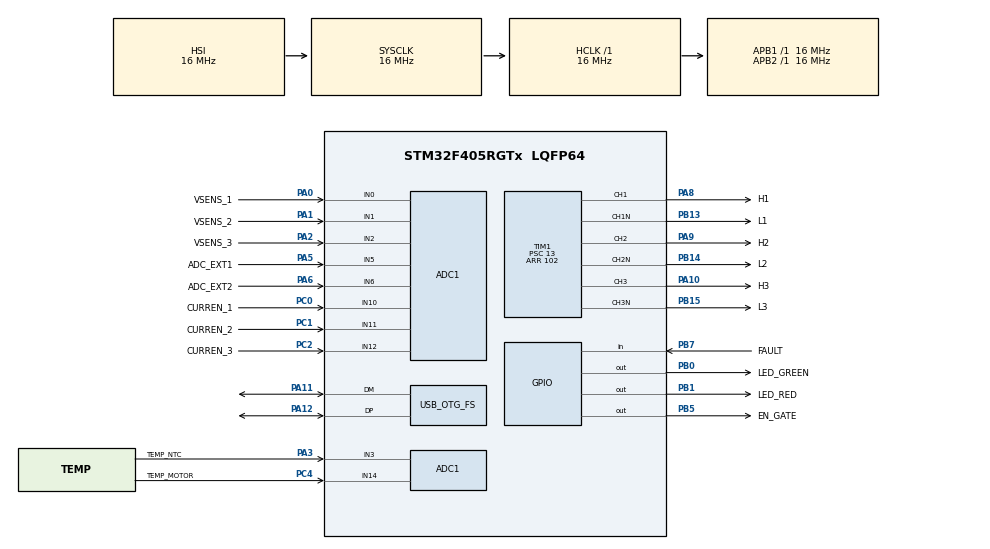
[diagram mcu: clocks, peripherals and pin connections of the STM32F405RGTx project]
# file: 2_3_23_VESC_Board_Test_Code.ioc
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ADC1.Channel-0\#ChannelRegularConversion=ADC_CHANNEL_0
ADC1.Channel-1\#ChannelRegularConversion=ADC_CHANNEL_1
ADC1.Channel-2\#ChannelRegularConversion=ADC_CHANNEL_2
ADC1.Channel-3\#ChannelRegularConversion=ADC_CHANNEL_3
ADC1.Channel-4\#ChannelRegularConversion=ADC_CHANNEL_5
ADC1.Channel-5\#ChannelRegularConversion=ADC_CHANNEL_6
ADC1.Channel-6\#ChannelRegularConversion=ADC_CHANNEL_10
ADC1.Channel-7\#ChannelRegularConversion=ADC_CHANNEL_11
ADC1.Channel-8\#ChannelRegularConversion=ADC_CHANNEL_12
ADC1.Channel-9\#ChannelRegularConversion=ADC_CHANNEL_14
ADC1.ContinuousConvMode=ENABLE
ADC1.NbrOfConversion=10
ADC1.NbrOfConversionFlag=1
ADC1.Rank-0\#ChannelRegularConversion=1
ADC1.Rank-1\#ChannelRegularConversion=2
ADC1.Rank-2\#ChannelRegularConversion=3
ADC1.Rank-3\#ChannelRegularConversion=4
ADC1.Rank-4\#ChannelRegularConversion=5
ADC1.Rank-5\#ChannelRegularConversion=6
ADC1.Rank-6\#ChannelRegularConversion=7
ADC1.Rank-7\#ChannelRegularConversion=8
ADC1.Rank-8\#ChannelRegularConversion=9
ADC1.Rank-9\#ChannelRegularConversion=10
ADC1.SamplingTime-0\#ChannelRegularConversion=ADC_SAMPLETIME_3CYCLES
ADC1.SamplingTime-1\#ChannelRegularConversion=ADC_SAMPLETIME_3CYCLES
ADC1.SamplingTime-2\#ChannelRegularConversion=ADC_SAMPLETIME_3CYCLES
ADC1.SamplingTime-3\#ChannelRegularConversion=ADC_SAMPLETIME_3CYCLES
ADC1.SamplingTime-4\#ChannelRegularConversion=ADC_SAMPLETIME_3CYCLES
ADC1.SamplingTime-5\#ChannelRegularConversion=ADC_SAMPLETIME_3CYCLES
ADC1.SamplingTime-6\#ChannelRegularConversion=ADC_SAMPLETIME_3CYCLES
ADC1.SamplingTime-7\#ChannelRegularConversion=ADC_SAMPLETIME_3CYCLES
ADC1.SamplingTime-8\#ChannelRegularConversion=ADC_SAMPLETIME_3CYCLES
ADC1.SamplingTime-9\#ChannelRegularConversion=ADC_SAMPLETIME_3CYCLES
ADC1.ScanConvMode=ENABLE
ADC1.master=1
Mcu.Family=STM32F4
Mcu.Name=STM32F405RGTx
Mcu.Package=LQFP64
NVIC.OTG_FS_IRQn=true\:0\:0\:false\:false\:true\:false\:true\:true
NVIC.PriorityGroup=NVIC_PRIORITYGROUP_4
NVIC.TIM2_IRQn=true\:0\:0\:false\:false\:true\:true\:true\:true
PA0-WKUP.GPIO_Label=VSENS_1
PA0-WKUP.Signal=ADCx_IN0
PA1.GPIO_Label=VSENS_2
PA1.Signal=ADCx_IN1
PA10.GPIO_Label=H3
PA10.Signal=S_TIM1_CH3
PA11.Mode=Device_Only
PA11.Signal=USB_OTG_FS_DM
PA12.Mode=Device_Only
PA12.Signal=USB_OTG_FS_DP
PA13.Mode=Serial_Wire
PA13.Signal=SYS_JTMS-SWDIO
PA14.Mode=Serial_Wire
PA14.Signal=SYS_JTCK-SWCLK
PA2.GPIO_Label=VSENS_3
PA2.Signal=ADCx_IN2
PA3.GPIO_Label=TEMP_NTC
PA3.Signal=ADCx_IN3
PA5.GPIO_Label=ADC_EXT1
PA5.Signal=ADCx_IN5
PA6.GPIO_Label=ADC_EXT2
PA6.Signal=ADCx_IN6
PA8.GPIO_Label=H1
PA8.Signal=S_TIM1_CH1
PA9.GPIO_Label=H2
PA9.Signal=S_TIM1_CH2
PB0.GPIO_Label=LED_GREEN
PB0.Signal=GPIO_Output
PB1.GPIO_Label=LED_RED
PB1.Signal=GPIO_Output
PB13.GPIO_Label=L1
PB13.Mode=PWM Generation1 CH1 CH1N
PB13.Signal=TIM1_CH1N
PB14.GPIO_Label=L2
PB14.Mode=PWM Generation2 CH2 CH2N
PB14.Signal=TIM1_CH2N
PB15.GPIO_Label=L3
PB15.Mode=PWM Generation3 CH3 CH3N
PB15.Signal=TIM1_CH3N
PB5.GPIO_Label=EN_GATE
PB5.PinState=GPIO_PIN_RESET
PB5.Signal=GPIO_Output
PB7.GPIO_Label=FAULT
PB7.Signal=GPIO_Input
PC0.GPIO_Label=CURREN_1
PC0.Signal=ADCx_IN10
PC1.GPIO_Label=CURREN_2
PC1.Signal=ADCx_IN11
PC14-OSC32_IN.Mode=LSE-External-Oscillator
PC14-OSC32_IN.Signal=RCC_OSC32_IN
PC15-OSC32_OUT.Mode=LSE-External-Oscillator
PC15-OSC32_OUT.Signal=RCC_OSC32_OUT
PC2.GPIO_Label=CURREN_3
PC2.Signal=ADCx_IN12
PC4.GPIO_Label=TEMP_MOTOR
PC4.Signal=ADCx_IN14
PH0-OSC_IN.Mode=HSE-External-Oscillator
PH0-OSC_IN.Signal=RCC_OSC_IN
PH1-OSC_OUT.Mode=HSE-External-Oscillator
PH1-OSC_OUT.Signal=RCC_OSC_OUT
ProjectManager.HeapSize=0x200
ProjectManager.StackSize=0x400
ProjectManager.TargetToolchain=STM32CubeIDE
RCC.48MHZClocksFreq_Value=48000000
RCC.AHBFreq_Value=16000000
RCC.APB1Freq_Value=16000000
RCC.APB2Freq_Value=16000000
RCC.CortexFreq_Value=16000000
RCC.HSE_VALUE=25000000
RCC.HSI_VALUE=16000000
RCC.PLLSource=RCC_PLLSOURCE_HSI
RCC.PLLSourceVirtualString=RCC_PLLSOURCE_HSI
RCC.SYSCLKFreq_VALUE=16000000
RCC.VCOOutputFreq_Value=192000000
SH.ADCx_IN0.0=ADC1_IN0,IN0
SH.ADCx_IN1.0=ADC1_IN1,IN1
SH.ADCx_IN10.0=ADC1_IN10,IN10
SH.ADCx_IN11.0=ADC1_IN11,IN11
SH.ADCx_IN12.0=ADC1_IN12,IN12
SH.ADCx_IN14.0=ADC1_IN14,IN14
SH.ADCx_IN2.0=ADC1_IN2,IN2
SH.ADCx_IN3.0=ADC1_IN3,IN3
SH.ADCx_IN5.0=ADC1_IN5,IN5
SH.ADCx_IN6.0=ADC1_IN6,IN6
SH.S_TIM1_CH1.0=TIM1_CH1,PWM Generation1 CH1 CH1N
SH.S_TIM1_CH2.0=TIM1_CH2,PWM Generation2 CH2 CH2N
SH.S_TIM1_CH3.0=TIM1_CH3,PWM Generation3 CH3 CH3N
TIM1.AutoReloadPreload=TIM_AUTORELOAD_PRELOAD_ENABLE
TIM1.Channel-PWM\ Generation1\ CH1\ CH1N=TIM_CHANNEL_1
TIM1.Channel-PWM\ Generation2\ CH2\ CH2N=TIM_CHANNEL_2
TIM1.Channel-PWM\ Generation3\ CH3\ CH3N=TIM_CHANNEL_3
TIM1.DeadTime=20
TIM1.OCNIdleState_1=TIM_OCNIDLESTATE_SET
TIM1.OCNIdleState_2=TIM_OCNIDLESTATE_SET
TIM1.OCNIdleState_3=TIM_OCNIDLESTATE_SET
TIM1.Period=102
TIM1.Prescaler=13
TIM2.AutoReloadPreload=TIM_AUTORELOAD_PRELOAD_ENABLE
TIM2.Period=2000
TIM2.Prescaler=14
USB_DEVICE.CLASS_NAME_FS=CDC
USB_DEVICE.VirtualMode-CDC_FS=Cdc
USB_DEVICE.VirtualModeFS=Cdc_FS
USB_OTG_FS.VirtualMode=Device_Only
VP_TIM1_VS_ClockSourceINT.Mode=Internal
VP_TIM2_VS_ClockSourceINT.Mode=Internal
VP_USB_DEVICE_VS_USB_DEVICE_CDC_FS.Mode=CDC_FS
board=custom

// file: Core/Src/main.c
/* USER CODE BEGIN Header */
/**
  ******************************************************************************
  * @file           : main.c
  * @brief          : Main program body
  ******************************************************************************
  * @attention
  *
  * Copyright (c) 2023 STMicroelectronics.
  * All rights reserved.
  *
  * This software is licensed under terms that can be found in the LICENSE file
  * in the root directory of this software component.
  * If no LICENSE file comes with this software, it is provided AS-IS.
  *
  ******************************************************************************
  */
/* USER CODE END Header */
#include "main.h"
#include "usb_device.h"

/* USER CODE BEGIN Includes */
#include "usbd_cdc_if.h"
#include "stdio.h"
#include "string.h"
/* USER CODE END Includes */

/* USER CODE BEGIN PTD */
uint16_t PhaseA=0;
uint16_t k=0,l=0,CH2_DC=16;
uint32_t PhaseA_wave[128 ] = {
		50,54,58,62,65,69,72,76,79,82,85,88,90,92,94,96,97,98,99,100,100,100,100,99,
		98,97,95,93,91,89,86,84,81,77,74,71,67,63,60,56,52,48,44,40,37,33,29,26,
		23,19,16,14,11,9,7,5,3,2,3,4,6,8,10,12,15,
		18,21,24,28,31,35,38,42,46,50
};
uint32_t PhaseB_wave[128 ] = {
		93,91,89,86,84,81,77,74,71,67,63,60,56,52,48,44,40,37,33,29,26,
		23,19,16,14,11,9,7,5,3,2,3,4,6,8,10,12,15,
		18,21,24,28,31,35,38,42,46,50,50,54,58,62,65,69,72,76,79,82,85,88,90,92,
		94,96,97,98,99,100,100,100,100,99,98,97,95,
};
uint32_t PhaseC_wave[128 ] = {
		7,5,3,2,3,4,6,8,10,12,15,18,21,24,28,31,35,38,42,46,50,
		50,54,58,62,65,69,72,76,79,82,85,88,90,92,94,96,97,98,99,100,100,100,100,99,
		98,97,95,93,91,89,86,84,81,77,74,71,67,63,60,56,52,48,44,40,37,33,29,26,
		23,19,16,14,11,9
};
/* USER CODE END PTD */

ADC_HandleTypeDef hadc1;

TIM_HandleTypeDef htim1;
TIM_HandleTypeDef htim2;

/* USER CODE BEGIN PV */
ADC_ChannelConfTypeDef sConfig = {0};
uint8_t buffer[64];
uint16_t ADC_VAL[10],strVal[16];

/* USER CODE END PV */

void SystemClock_Config(void);
static void MX_GPIO_Init(void);
static void MX_ADC1_Init(void);
static void MX_TIM1_Init(void);
static void MX_TIM2_Init(void);

/* USER CODE BEGIN 0 */
void ledBlink()
{
	for (int ledCount=0;ledCount<6;ledCount++)
	{
		HAL_GPIO_TogglePin(GPIOB, LED_GREEN_Pin|LED_RED_Pin);
		HAL_Delay(1000);
	}
	HAL_GPIO_WritePin(GPIOB, LED_GREEN_Pin|LED_RED_Pin, GPIO_PIN_RESET);
}

void USBTest()
{
	char *data = "Hello ST MicroController\r\n";
	CDC_Transmit_FS((uint8_t *)data, strlen(data));
	HAL_Delay(1000);
}
void DRV8301_Enable()
{
	HAL_GPIO_WritePin(GPIOB, EN_GATE_Pin, GPIO_PIN_SET);
}
void DRV8301_Disable()
{
	HAL_GPIO_WritePin(GPIOB, EN_GATE_Pin, GPIO_PIN_RESET);
}
void DRV8301_NormalPWM()
{
	TIM1->CCR1 = 51;
	HAL_TIM_PWM_Start(&htim1, TIM_CHANNEL_1);
	HAL_TIMEx_PWMN_Start(&htim1, TIM_CHANNEL_1);
	HAL_Delay(1);
	TIM1->CCR2 = 51;
	HAL_TIM_PWM_Start(&htim1, TIM_CHANNEL_2);
	HAL_TIMEx_PWMN_Start(&htim1, TIM_CHANNEL_2);
	HAL_Delay(1);
	TIM1->CCR3 = 51;
	HAL_TIM_PWM_Start(&htim1, TIM_CHANNEL_3);
	HAL_TIMEx_PWMN_Start(&htim1, TIM_CHANNEL_3);
	HAL_Delay(1);
}
void DRV8301_PWM_Stop()
{
	HAL_TIM_PWM_Stop(&htim1, TIM_CHANNEL_1);
	HAL_TIMEx_PWMN_Stop(&htim1, TIM_CHANNEL_1);
	HAL_TIM_PWM_Stop(&htim1, TIM_CHANNEL_2);
	HAL_TIMEx_PWMN_Stop(&htim1, TIM_CHANNEL_2);
	HAL_TIM_PWM_Stop(&htim1, TIM_CHANNEL_3);
	HAL_TIMEx_PWMN_Stop(&htim1, TIM_CHANNEL_3);
	HAL_Delay(1);
}
void delay_us (uint16_t us)
{
	__HAL_TIM_SET_COUNTER(&htim2,0);  // set the counter value a 0
	while (__HAL_TIM_GET_COUNTER(&htim2) < us);  // wait for the counter to reach the us input in the parameter
}
void DRV8301_CommutationPWM()
{
	for(k=0;k<73;k++)
	{
		PhaseA = PhaseA +1;
		TIM1->CCR1 = PhaseA_wave[PhaseA];
		HAL_TIM_PWM_Start(&htim1, TIM_CHANNEL_1);
		HAL_TIMEx_PWMN_Start(&htim1, TIM_CHANNEL_1);
		TIM1->CCR2 = PhaseB_wave[PhaseA];
		HAL_TIM_PWM_Start(&htim1, TIM_CHANNEL_2);
		HAL_TIMEx_PWMN_Start(&htim1, TIM_CHANNEL_2);
		TIM1->CCR3 = PhaseC_wave[PhaseA];
		HAL_TIM_PWM_Start(&htim1, TIM_CHANNEL_3);
		HAL_TIMEx_PWMN_Start(&htim1, TIM_CHANNEL_3);
		delay_us(330);
	}
	if(k>=73)
	{
		PhaseA=0;
		k=0;
	}
}
void VSENS_1()
{
	sConfig.Channel = ADC_CHANNEL_0;
	sConfig.Rank = 1;
	sConfig.SamplingTime = ADC_SAMPLETIME_3CYCLES;
	if (HAL_ADC_ConfigChannel(&hadc1, &sConfig) != HAL_OK)
	{
	Error_Handler();
	}
}

void VSENS_2()
{
	sConfig.Channel = ADC_CHANNEL_1;
	sConfig.Rank = 1;
	sConfig.SamplingTime = ADC_SAMPLETIME_3CYCLES;
	if (HAL_ADC_ConfigChannel(&hadc1, &sConfig) != HAL_OK)
	{
	Error_Handler();
	}
}
void VSENS_3()
{
	sConfig.Channel = ADC_CHANNEL_2;
	sConfig.Rank = 1;
	sConfig.SamplingTime = ADC_SAMPLETIME_3CYCLES;
	if (HAL_ADC_ConfigChannel(&hadc1, &sConfig) != HAL_OK)
	{
	Error_Handler();
	}
}
void TEMP_NTC()
{
	sConfig.Channel = ADC_CHANNEL_3;
	sConfig.Rank = 1;
	sConfig.SamplingTime = ADC_SAMPLETIME_3CYCLES;
	if (HAL_ADC_ConfigChannel(&hadc1, &sConfig) != HAL_OK)
	{
	Error_Handler();
	}
}
void ADC_EXT1()
{
	sConfig.Channel = ADC_CHANNEL_5;
	sConfig.Rank = 1;
	sConfig.SamplingTime = ADC_SAMPLETIME_3CYCLES;
	if (HAL_ADC_ConfigChannel(&hadc1, &sConfig) != HAL_OK)
	{
	Error_Handler();
	}
}
void ADC_EXT2()
{
	sConfig.Channel = ADC_CHANNEL_6;
	sConfig.Rank = 1;
	sConfig.SamplingTime = ADC_SAMPLETIME_3CYCLES;
	if (HAL_ADC_ConfigChannel(&hadc1, &sConfig) != HAL_OK)
	{
	Error_Handler();
	}
}
void CURREN_1()
{
	sConfig.Channel = ADC_CHANNEL_10;
	sConfig.Rank = 1;
	sConfig.SamplingTime = ADC_SAMPLETIME_3CYCLES;
	if (HAL_ADC_ConfigChannel(&hadc1, &sConfig) != HAL_OK)
	{
	Error_Handler();
	}
}
void CURREN_2()
{
	sConfig.Channel = ADC_CHANNEL_11;
	sConfig.Rank = 1;
	sConfig.SamplingTime = ADC_SAMPLETIME_3CYCLES;
	if (HAL_ADC_ConfigChannel(&hadc1, &sConfig) != HAL_OK)
	{
	Error_Handler();
	}
}
void CURREN_3()
{
	sConfig.Channel = ADC_CHANNEL_12;
	sConfig.Rank = 1;
	sConfig.SamplingTime = ADC_SAMPLETIME_3CYCLES;
	if (HAL_ADC_ConfigChannel(&hadc1, &sConfig) != HAL_OK)
	{
	Error_Handler();
	}
}
void TEMP_MOTOR()
{
	sConfig.Channel = ADC_CHANNEL_14;
	sConfig.Rank = 1;
	sConfig.SamplingTime = ADC_SAMPLETIME_3CYCLES;
	if (HAL_ADC_ConfigChannel(&hadc1, &sConfig) != HAL_OK)
	{
	Error_Handler();
	}
}
void CAAF()
{

	VSENS_1();
	HAL_ADC_Start(&hadc1);
	HAL_ADC_PollForConversion(&hadc1,1000);
	ADC_VAL[0] = HAL_ADC_GetValue(&hadc1);
	HAL_ADC_Stop(&hadc1);
	sprintf(strVal,"%hu\r\n",ADC_VAL[0]);
	CDC_Transmit_FS("VSENS_1 = ", 10);
	HAL_Delay(100);
	CDC_Transmit_FS(strVal, 8);
	HAL_Delay(100);

	VSENS_2();
	HAL_ADC_Start(&hadc1);
	HAL_ADC_PollForConversion(&hadc1,1000);
	ADC_VAL[1] = HAL_ADC_GetValue(&hadc1);
	HAL_ADC_Stop(&hadc1);
	sprintf(strVal,"%hu\r\n",ADC_VAL[1]);
	CDC_Transmit_FS("VSENS_2 = ", 10);
	HAL_Delay(100);
	CDC_Transmit_FS(strVal, 8);
	HAL_Delay(100);

	VSENS_3();
	HAL_ADC_Start(&hadc1);
	HAL_ADC_PollForConversion(&hadc1,1000);
	ADC_VAL[2] = HAL_ADC_GetValue(&hadc1);
	HAL_ADC_Stop(&hadc1);
	sprintf(strVal,"%hu\r\n",ADC_VAL[2]);
	CDC_Transmit_FS("VSENS_3 = ", 10);
	HAL_Delay(100);
	CDC_Transmit_FS(strVal, 8);
	HAL_Delay(100);

	TEMP_NTC();
	HAL_ADC_Start(&hadc1);
	HAL_ADC_PollForConversion(&hadc1,1000);
	ADC_VAL[3] = HAL_ADC_GetValue(&hadc1);
	HAL_ADC_Stop(&hadc1);
	sprintf(strVal,"%hu\r\n",ADC_VAL[3]);
	CDC_Transmit_FS("TEMP_NTC = ",11);
	HAL_Delay(100);
	CDC_Transmit_FS(strVal, 8);
	HAL_Delay(100);

	ADC_EXT1();
	HAL_ADC_Start(&hadc1);
	HAL_ADC_PollForConversion(&hadc1,1000);
	ADC_VAL[4] = HAL_ADC_GetValue(&hadc1);
	HAL_ADC_Stop(&hadc1);
	sprintf(strVal,"%hu\r\n",ADC_VAL[4]);
	CDC_Transmit_FS("ADC_EXT1 = ", 11);
	HAL_Delay(100);
	CDC_Transmit_FS(strVal, 8);
	HAL_Delay(100);

	ADC_EXT2();
	HAL_ADC_Start(&hadc1);
	HAL_ADC_PollForConversion(&hadc1,1000);
	ADC_VAL[5] = HAL_ADC_GetValue(&hadc1);
	HAL_ADC_Stop(&hadc1);
	sprintf(strVal,"%hu\r\n",ADC_VAL[5]);
	CDC_Transmit_FS("ADC_EXT2 = ", 11);
	HAL_Delay(100);
	CDC_Transmit_FS(strVal, 8);
	HAL_Delay(100);

	CURREN_1();
	HAL_ADC_Start(&hadc1);
	HAL_ADC_PollForConversion(&hadc1,1000);
	ADC_VAL[6] = HAL_ADC_GetValue(&hadc1);
	HAL_ADC_Stop(&hadc1);
	sprintf(strVal,"%hu\r\n",ADC_VAL[6]);
	CDC_Transmit_FS("CURREN_1 = ", 11);
	HAL_Delay(100);
	CDC_Transmit_FS(strVal, 8);
	HAL_Delay(100);

	CURREN_2();
	HAL_ADC_Start(&hadc1);
	HAL_ADC_PollForConversion(&hadc1,1000);
	ADC_VAL[7] = HAL_ADC_GetValue(&hadc1);
	HAL_ADC_Stop(&hadc1);
	sprintf(strVal,"%hu\r\n",ADC_VAL[7]);
	CDC_Transmit_FS("CURREN_2 = ", 11);
	HAL_Delay(100);
	CDC_Transmit_FS(strVal, 8);
	HAL_Delay(100);

	CURREN_3();
	HAL_ADC_Start(&hadc1);
	HAL_ADC_PollForConversion(&hadc1,1000);
	ADC_VAL[8] = HAL_ADC_GetValue(&hadc1);
	HAL_ADC_Stop(&hadc1);
	sprintf(strVal,"%hu\r\n",ADC_VAL[8]);
	CDC_Transmit_FS("CURREN_3 = ", 11);
	HAL_Delay(100);
	CDC_Transmit_FS(strVal, 8);
	HAL_Delay(100);

	TEMP_MOTOR();
	HAL_ADC_Start(&hadc1);
	HAL_ADC_PollForConversion(&hadc1,1000);
	ADC_VAL[9] = HAL_ADC_GetValue(&hadc1);
	HAL_ADC_Stop(&hadc1);
	sprintf(strVal,"%hu\r\n",ADC_VAL[9]);
	CDC_Transmit_FS("TEMP_MOTOR = ", 13);
	HAL_Delay(100);
	CDC_Transmit_FS(strVal, 8);
	HAL_Delay(100);

}
void IFunction()
{
	if (buffer[0] == '1')
	{
		ledBlink();
	}
	if (buffer[0] == '2')
	{
		USBTest();
	}
	if (buffer[0] == '3')
	{
		CAAF();
	}
	if (buffer[0] == '4')
	{
		DRV8301_Enable();
	}
	if (buffer[0] == '5')
	{
		DRV8301_Disable();
	}
	if (buffer[0] == '6')
	{
		DRV8301_NormalPWM();
	}
	if (buffer[0] == '7')
	{
		DRV8301_CommutationPWM();
	}
	if (buffer[0] == '8')
	{
		DRV8301_PWM_Stop();
	}
}
/* USER CODE END 0 */

int main(void)
{

  /* MCU Configuration--------------------------------------------------------*/

  /* Reset of all peripherals, Initializes the Flash interface and the Systick. */
  HAL_Init();

  /* Configure the system clock */
  SystemClock_Config();

  /* Initialize all configured peripherals */
  MX_GPIO_Init();
  MX_ADC1_Init();
  MX_TIM1_Init();
  MX_TIM2_Init();
  MX_USB_DEVICE_Init();
  /* USER CODE BEGIN 2 */
  HAL_TIM_Base_Start(&htim2);
  /* USER CODE END 2 */

  /* Infinite loop */
  while (1)
  {
	  IFunction();
  }
}

void SystemClock_Config(void)
{
  RCC_OscInitTypeDef RCC_OscInitStruct = {0};
  RCC_ClkInitTypeDef RCC_ClkInitStruct = {0};

  /** Configure the main internal regulator output voltage
  */
  __HAL_RCC_PWR_CLK_ENABLE();
  __HAL_PWR_VOLTAGESCALING_CONFIG(PWR_REGULATOR_VOLTAGE_SCALE1);

  /** Initializes the RCC Oscillators according to the specified parameters
  * in the RCC_OscInitTypeDef structure.
  */
  RCC_OscInitStruct.OscillatorType = RCC_OSCILLATORTYPE_HSI;
  RCC_OscInitStruct.HSIState = RCC_HSI_ON;
  RCC_OscInitStruct.HSICalibrationValue = RCC_HSICALIBRATION_DEFAULT;
  RCC_OscInitStruct.PLL.PLLState = RCC_PLL_ON;
  RCC_OscInitStruct.PLL.PLLSource = RCC_PLLSOURCE_HSI;
  RCC_OscInitStruct.PLL.PLLM = 16;
  RCC_OscInitStruct.PLL.PLLN = 192;
  RCC_OscInitStruct.PLL.PLLP = RCC_PLLP_DIV2;
  RCC_OscInitStruct.PLL.PLLQ = 4;
  if (HAL_RCC_OscConfig(&RCC_OscInitStruct) != HAL_OK)
  {
    Error_Handler();
  }

  /** Initializes the CPU, AHB and APB buses clocks
  */
  RCC_ClkInitStruct.ClockType = RCC_CLOCKTYPE_HCLK|RCC_CLOCKTYPE_SYSCLK
                              |RCC_CLOCKTYPE_PCLK1|RCC_CLOCKTYPE_PCLK2;
  RCC_ClkInitStruct.SYSCLKSource = RCC_SYSCLKSOURCE_HSI;
  RCC_ClkInitStruct.AHBCLKDivider = RCC_SYSCLK_DIV1;
  RCC_ClkInitStruct.APB1CLKDivider = RCC_HCLK_DIV1;
  RCC_ClkInitStruct.APB2CLKDivider = RCC_HCLK_DIV1;

  if (HAL_RCC_ClockConfig(&RCC_ClkInitStruct, FLASH_LATENCY_0) != HAL_OK)
  {
    Error_Handler();
  }
}

static void MX_ADC1_Init(void)
{

  ADC_ChannelConfTypeDef sConfig = {0};

  /** Configure the global features of the ADC (Clock, Resolution, Data Alignment and number of conversion)
  */
  hadc1.Instance = ADC1;
  hadc1.Init.ClockPrescaler = ADC_CLOCK_SYNC_PCLK_DIV2;
  hadc1.Init.Resolution = ADC_RESOLUTION_12B;
  hadc1.Init.ScanConvMode = ENABLE;
  hadc1.Init.ContinuousConvMode = ENABLE;
  hadc1.Init.DiscontinuousConvMode = DISABLE;
  hadc1.Init.ExternalTrigConvEdge = ADC_EXTERNALTRIGCONVEDGE_NONE;
  hadc1.Init.ExternalTrigConv = ADC_SOFTWARE_START;
  hadc1.Init.DataAlign = ADC_DATAALIGN_RIGHT;
  hadc1.Init.NbrOfConversion = 1;
  hadc1.Init.DMAContinuousRequests = DISABLE;
  hadc1.Init.EOCSelection = ADC_EOC_SINGLE_CONV;
  if (HAL_ADC_Init(&hadc1) != HAL_OK)
  {
    Error_Handler();
  }

  /** Configure for the selected ADC regular channel its corresponding rank in the sequencer and its sample time.
  */
  sConfig.Channel = ADC_CHANNEL_0;
  sConfig.Rank = 1;
  sConfig.SamplingTime = ADC_SAMPLETIME_3CYCLES;
  if (HAL_ADC_ConfigChannel(&hadc1, &sConfig) != HAL_OK)
  {
    Error_Handler();
  }

  /** Configure for the selected ADC regular channel its corresponding rank in the sequencer and its sample time.
  */
  sConfig.Channel = ADC_CHANNEL_1;
  sConfig.Rank = 2;
  if (HAL_ADC_ConfigChannel(&hadc1, &sConfig) != HAL_OK)
  {
    Error_Handler();
  }

  /** Configure for the selected ADC regular channel its corresponding rank in the sequencer and its sample time.
  */
  sConfig.Channel = ADC_CHANNEL_2;
  sConfig.Rank = 3;
  if (HAL_ADC_ConfigChannel(&hadc1, &sConfig) != HAL_OK)
  {
    Error_Handler();
  }

  /** Configure for the selected ADC regular channel its corresponding rank in the sequencer and its sample time.
  */
  sConfig.Channel = ADC_CHANNEL_3;
  sConfig.Rank = 4;
  if (HAL_ADC_ConfigChannel(&hadc1, &sConfig) != HAL_OK)
  {
    Error_Handler();
  }

  /** Configure for the selected ADC regular channel its corresponding rank in the sequencer and its sample time.
  */
  sConfig.Channel = ADC_CHANNEL_5;
  sConfig.Rank = 5;
  if (HAL_ADC_ConfigChannel(&hadc1, &sConfig) != HAL_OK)
  {
    Error_Handler();
  }

  /** Configure for the selected ADC regular channel its corresponding rank in the sequencer and its sample time.
  */
  sConfig.Channel = ADC_CHANNEL_6;
  sConfig.Rank = 6;
  if (HAL_ADC_ConfigChannel(&hadc1, &sConfig) != HAL_OK)
  {
    Error_Handler();
  }

  /** Configure for the selected ADC regular channel its corresponding rank in the sequencer and its sample time.
  */
  sConfig.Channel = ADC_CHANNEL_10;
  sConfig.Rank = 7;
  if (HAL_ADC_ConfigChannel(&hadc1, &sConfig) != HAL_OK)
  {
    Error_Handler();
  }

  /** Configure for the selected ADC regular channel its corresponding rank in the sequencer and its sample time.
  */
  sConfig.Channel = ADC_CHANNEL_11;
  sConfig.Rank = 8;
  if (HAL_ADC_ConfigChannel(&hadc1, &sConfig) != HAL_OK)
  {
    Error_Handler();
  }

  /** Configure for the selected ADC regular channel its corresponding rank in the sequencer and its sample time.
  */
  sConfig.Channel = ADC_CHANNEL_12;
  sConfig.Rank = 9;
  if (HAL_ADC_ConfigChannel(&hadc1, &sConfig) != HAL_OK)
  {
    Error_Handler();
  }

  /** Configure for the selected ADC regular channel its corresponding rank in the sequencer and its sample time.
  */
  sConfig.Channel = ADC_CHANNEL_14;
  sConfig.Rank = 10;
  if (HAL_ADC_ConfigChannel(&hadc1, &sConfig) != HAL_OK)
  {
    Error_Handler();
  }

}

static void MX_TIM1_Init(void)
{

  TIM_ClockConfigTypeDef sClockSourceConfig = {0};
  TIM_MasterConfigTypeDef sMasterConfig = {0};
  TIM_OC_InitTypeDef sConfigOC = {0};
  TIM_BreakDeadTimeConfigTypeDef sBreakDeadTimeConfig = {0};

  htim1.Instance = TIM1;
  htim1.Init.Prescaler = 13;
  htim1.Init.CounterMode = TIM_COUNTERMODE_UP;
  htim1.Init.Period = 102;
  htim1.Init.ClockDivision = TIM_CLOCKDIVISION_DIV1;
  htim1.Init.RepetitionCounter = 0;
  htim1.Init.AutoReloadPreload = TIM_AUTORELOAD_PRELOAD_ENABLE;
  if (HAL_TIM_Base_Init(&htim1) != HAL_OK)
  {
    Error_Handler();
  }
  sClockSourceConfig.ClockSource = TIM_CLOCKSOURCE_INTERNAL;
  if (HAL_TIM_ConfigClockSource(&htim1, &sClockSourceConfig) != HAL_OK)
  {
    Error_Handler();
  }
  if (HAL_TIM_PWM_Init(&htim1) != HAL_OK)
  {
    Error_Handler();
  }
  sMasterConfig.MasterOutputTrigger = TIM_TRGO_RESET;
  sMasterConfig.MasterSlaveMode = TIM_MASTERSLAVEMODE_DISABLE;
  if (HAL_TIMEx_MasterConfigSynchronization(&htim1, &sMasterConfig) != HAL_OK)
  {
    Error_Handler();
  }
  sConfigOC.OCMode = TIM_OCMODE_PWM1;
  sConfigOC.Pulse = 0;
  sConfigOC.OCPolarity = TIM_OCPOLARITY_HIGH;
  sConfigOC.OCNPolarity = TIM_OCNPOLARITY_HIGH;
  sConfigOC.OCFastMode = TIM_OCFAST_DISABLE;
  sConfigOC.OCIdleState = TIM_OCIDLESTATE_RESET;
  sConfigOC.OCNIdleState = TIM_OCNIDLESTATE_SET;
  if (HAL_TIM_PWM_ConfigChannel(&htim1, &sConfigOC, TIM_CHANNEL_1) != HAL_OK)
  {
    Error_Handler();
  }
  if (HAL_TIM_PWM_ConfigChannel(&htim1, &sConfigOC, TIM_CHANNEL_2) != HAL_OK)
  {
    Error_Handler();
  }
  if (HAL_TIM_PWM_ConfigChannel(&htim1, &sConfigOC, TIM_CHANNEL_3) != HAL_OK)
  {
    Error_Handler();
  }
  sBreakDeadTimeConfig.OffStateRunMode = TIM_OSSR_DISABLE;
  sBreakDeadTimeConfig.OffStateIDLEMode = TIM_OSSI_DISABLE;
  sBreakDeadTimeConfig.LockLevel = TIM_LOCKLEVEL_OFF;
  sBreakDeadTimeConfig.DeadTime = 20;
  sBreakDeadTimeConfig.BreakState = TIM_BREAK_DISABLE;
  sBreakDeadTimeConfig.BreakPolarity = TIM_BREAKPOLARITY_HIGH;
  sBreakDeadTimeConfig.AutomaticOutput = TIM_AUTOMATICOUTPUT_DISABLE;
  if (HAL_TIMEx_ConfigBreakDeadTime(&htim1, &sBreakDeadTimeConfig) != HAL_OK)
  {
    Error_Handler();
  }
  HAL_TIM_MspPostInit(&htim1);

}

static void MX_TIM2_Init(void)
{

  TIM_ClockConfigTypeDef sClockSourceConfig = {0};
  TIM_MasterConfigTypeDef sMasterConfig = {0};

  htim2.Instance = TIM2;
  htim2.Init.Prescaler = 14;
  htim2.Init.CounterMode = TIM_COUNTERMODE_UP;
  htim2.Init.Period = 2000;
  htim2.Init.ClockDivision = TIM_CLOCKDIVISION_DIV1;
  htim2.Init.AutoReloadPreload = TIM_AUTORELOAD_PRELOAD_ENABLE;
  if (HAL_TIM_Base_Init(&htim2) != HAL_OK)
  {
    Error_Handler();
  }
  sClockSourceConfig.ClockSource = TIM_CLOCKSOURCE_INTERNAL;
  if (HAL_TIM_ConfigClockSource(&htim2, &sClockSourceConfig) != HAL_OK)
  {
    Error_Handler();
  }
  sMasterConfig.MasterOutputTrigger = TIM_TRGO_RESET;
  sMasterConfig.MasterSlaveMode = TIM_MASTERSLAVEMODE_DISABLE;
  if (HAL_TIMEx_MasterConfigSynchronization(&htim2, &sMasterConfig) != HAL_OK)
  {
    Error_Handler();
  }

}

static void MX_GPIO_Init(void)
{
  GPIO_InitTypeDef GPIO_InitStruct = {0};

  /* GPIO Ports Clock Enable */
  __HAL_RCC_GPIOC_CLK_ENABLE();
  __HAL_RCC_GPIOH_CLK_ENABLE();
  __HAL_RCC_GPIOA_CLK_ENABLE();
  __HAL_RCC_GPIOB_CLK_ENABLE();

  /*Configure GPIO pin Output Level */
  HAL_GPIO_WritePin(GPIOB, LED_GREEN_Pin|LED_RED_Pin|EN_GATE_Pin, GPIO_PIN_RESET);

  /*Configure GPIO pins : LED_GREEN_Pin LED_RED_Pin EN_GATE_Pin */
  GPIO_InitStruct.Pin = LED_GREEN_Pin|LED_RED_Pin|EN_GATE_Pin;
  GPIO_InitStruct.Mode = GPIO_MODE_OUTPUT_PP;
  GPIO_InitStruct.Pull = GPIO_NOPULL;
  GPIO_InitStruct.Speed = GPIO_SPEED_FREQ_LOW;
  HAL_GPIO_Init(GPIOB, &GPIO_InitStruct);

  /*Configure GPIO pin : FAULT_Pin */
  GPIO_InitStruct.Pin = FAULT_Pin;
  GPIO_InitStruct.Mode = GPIO_MODE_INPUT;
  GPIO_InitStruct.Pull = GPIO_NOPULL;
  HAL_GPIO_Init(FAULT_GPIO_Port, &GPIO_InitStruct);

}

void Error_Handler(void)
{
  __disable_irq();
  while (1)
  {
  }
}
